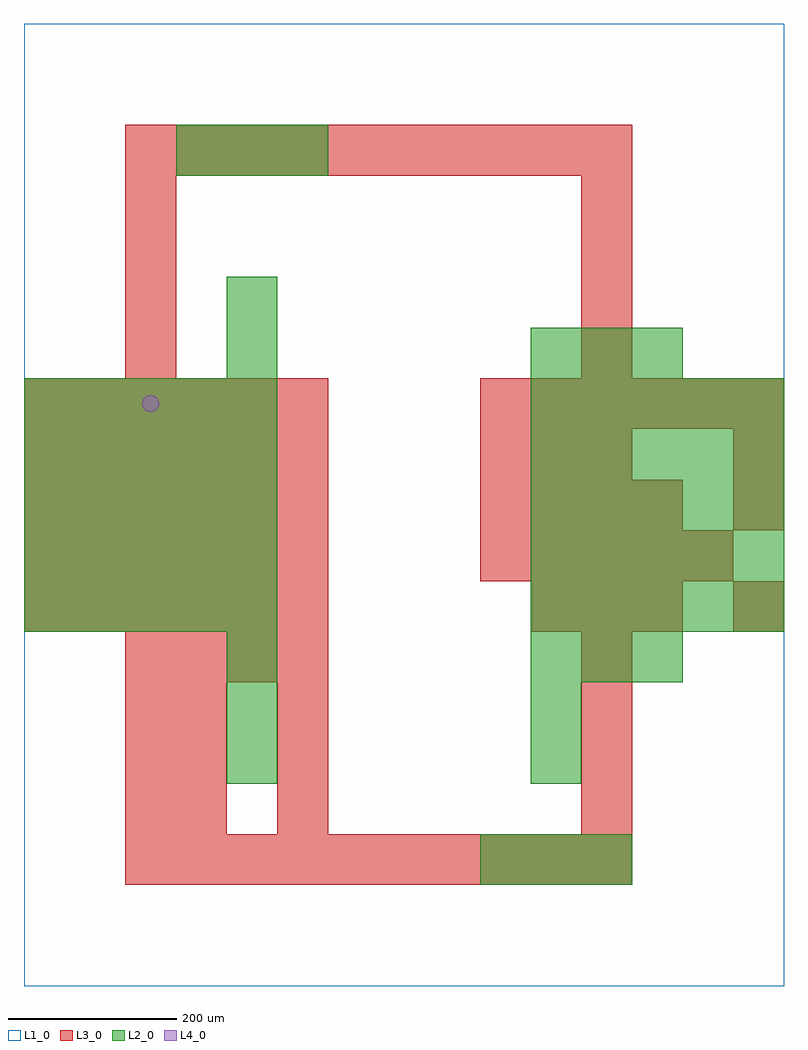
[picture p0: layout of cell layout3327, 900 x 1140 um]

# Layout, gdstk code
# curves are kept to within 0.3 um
import gdstk
lib = gdstk.Library(unit=1e-6, precision=1e-09)
def R(c, l, rs):  # rectangles x0, y0, x1, y1
    for r in rs: c.add(gdstk.rectangle(r[:2], r[2:], *l))
def A(c, l, x, y, w, h, nx, ny, dx, dy):  # array of equal rectangles
    R(c, l, [(x+i*dx, y+j*dy, x+i*dx+w, y+j*dy+h) for i in range(nx) for j in range(ny)])
def P(c, l, *ps):  # polygons
    for p in ps: c.add(gdstk.Polygon(p, *l))
L1_0 = (1, 0)
L2_0 = (2, 0)
L3_0 = (3, 0)
L4_0 = (4, 0)

layout3327 = lib.new_cell('layout3327')
R(layout3327, L1_0, [(0,0,900,1140)])
A(layout3327, L2_0, 540, 120, 60, 60, 3, 1, 60, 0)
A(layout3327, L2_0, 240, 240, 60, 60, 1, 3, 0, 60)
A(layout3327, L2_0, 600, 360, 60, 60, 3, 2, 60, 360)
A(layout3327, L2_0, 0, 420, 60, 60, 5, 5, 60, 60)
A(layout3327, L2_0, 600, 420, 60, 60, 5, 5, 60, 60)
A(layout3327, L2_0, 180, 960, 60, 60, 3, 1, 60, 0)
R(layout3327, L2_0, [(600,240,660,300), (600,300,660,360), (240,720,300,780), (240,780,300,840)])
A(layout3327, L3_0, 120, 120, 60, 60, 10, 2, 60, 840)
A(layout3327, L3_0, 120, 180, 60, 60, 1, 3, 0, 60)
A(layout3327, L3_0, 180, 180, 60, 60, 1, 3, 0, 60)
A(layout3327, L3_0, 300, 180, 60, 60, 1, 3, 0, 60)
A(layout3327, L3_0, 660, 180, 60, 60, 1, 4, 0, 60)
A(layout3327, L3_0, 120, 360, 60, 60, 4, 1, 60, 0)
A(layout3327, L3_0, 0, 420, 60, 60, 6, 5, 60, 60)
A(layout3327, L3_0, 600, 420, 60, 60, 3, 1, 60, 0)
A(layout3327, L3_0, 540, 480, 60, 60, 5, 1, 60, 0)
A(layout3327, L3_0, 540, 540, 60, 60, 4, 1, 60, 0)
A(layout3327, L3_0, 540, 600, 60, 60, 3, 1, 60, 0)
A(layout3327, L3_0, 540, 660, 60, 60, 6, 1, 60, 0)
A(layout3327, L3_0, 120, 720, 60, 60, 1, 4, 0, 60)
A(layout3327, L3_0, 660, 720, 60, 60, 1, 4, 0, 60)
R(layout3327, L3_0, [(840,420,900,480), (840,540,900,600), (840,600,900,660)])
P(layout3327, L4_0, [(160,690),(159.239,693.827),(157.071,697.071),(153.827,699.239),(150,700),(146.173,699.239),(142.929,697.071),(140.761,693.827),(140,690),(140.761,686.173),(142.929,682.929),(146.173,680.761),(150,680),(153.827,680.761),(157.071,682.929),(159.239,686.173)])

lib.write_gds('layout3327.gds')
